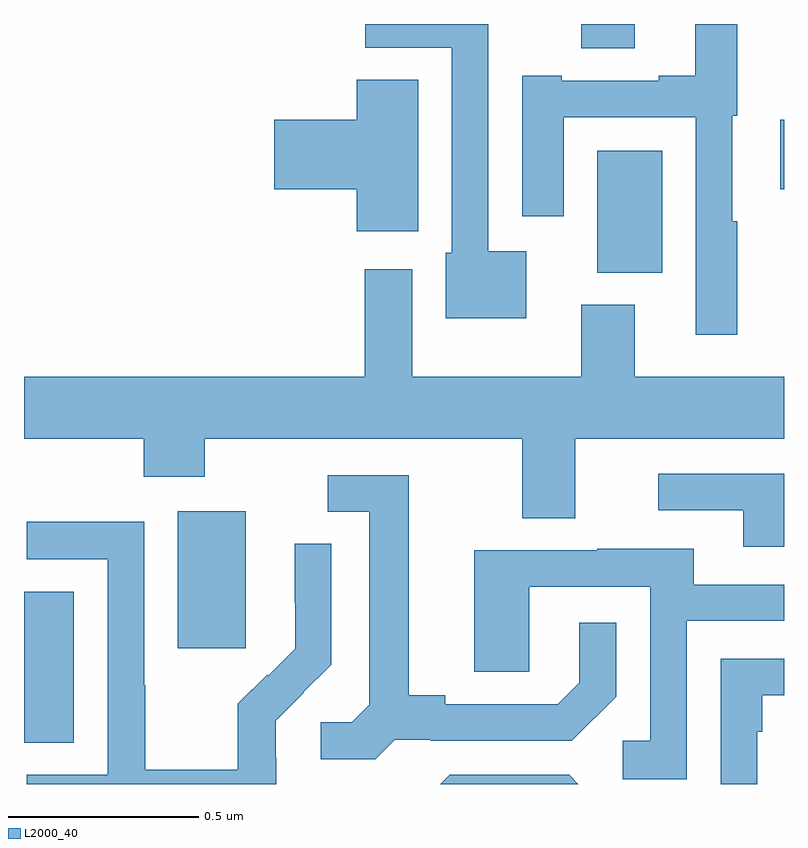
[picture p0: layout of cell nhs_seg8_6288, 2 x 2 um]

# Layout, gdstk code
import gdstk
lib = gdstk.Library(unit=1e-6, precision=1e-09)
def R(c, l, rs):  # rectangles x0, y0, x1, y1
    for r in rs: c.add(gdstk.rectangle(r[:2], r[2:], *l))
def P(c, l, *ps):  # polygons
    for p in ps: c.add(gdstk.Polygon(p, *l))
L2000_40 = (2000, 40)

nhs_seg8_6288 = lib.new_cell('nhs_seg8_6288')
R(nhs_seg8_6288, L2000_40, [(194,1141.009,194.131,1141.406), (194.405,1141.257,194.584,1141.618), (195.509,1142.246,195.679,1142.566), (195.99,1142.465,196,1142.648), (195.467,1142.836,195.607,1142.9)])
P(nhs_seg8_6288, L2000_40, [(195.322,1142.302),(195.222,1142.302),(195.222,1142.9),(194.898,1142.9),(194.898,1142.838),(195.126,1142.838),(195.126,1142.298),(195.11,1142.298),(195.11,1142.126),(195.322,1142.126)],
  [(195.877,1142.381),(195.864,1142.381),(195.864,1142.658),(195.877,1142.658),(195.877,1142.899),(195.767,1142.899),(195.767,1142.764),(195.671,1142.764),(195.671,1142.751),(195.415,1142.751),(195.415,1142.764),(195.311,1142.764),(195.311,1142.394),(195.421,1142.394),(195.421,1142.655),(195.768,1142.655),(195.768,1142.082),(195.877,1142.082)],
  [(195.037,1142.753),(194.876,1142.753),(194.876,1142.648),(194.658,1142.648),(194.658,1142.465),(194.876,1142.465),(194.876,1142.355),(195.037,1142.355)],
  [(195.451,1141.808),(196,1141.808),(196,1141.972),(195.607,1141.972),(195.607,1142.161),(195.467,1142.161),(195.467,1141.972),(195.022,1141.972),(195.022,1142.254),(194.897,1142.254),(194.897,1141.972),(194,1141.972),(194,1141.808),(194.315,1141.808),(194.315,1141.709),(194.475,1141.709),(194.475,1141.808),(195.311,1141.808),(195.311,1141.6),(195.451,1141.6)],
  [(196,1141.716),(195.669,1141.716),(195.669,1141.62),(195.893,1141.62),(195.893,1141.524),(196,1141.524)],
  [(194.976,1141.017),(195.07,1141.017),(195.07,1141.014),(195.442,1141.014),(195.558,1141.13),(195.558,1141.324),(195.461,1141.324),(195.461,1141.167),(195.404,1141.11),(195.109,1141.11),(195.109,1141.133),(195.013,1141.133),(195.013,1141.713),(194.799,1141.713),(194.799,1141.617),(194.909,1141.617),(194.909,1141.109),(194.862,1141.062),(194.781,1141.062),(194.781,1140.965),(194.924,1140.965)],
  [(194.664,1140.969),(194.662,1140.969),(194.662,1141.066),(194.736,1141.14),(194.735,1141.141),(194.808,1141.214),(194.808,1141.532),(194.712,1141.532),(194.712,1141.378),(194.714,1141.378),(194.714,1141.256),(194.643,1141.185),(194.64,1141.188),(194.563,1141.111),(194.563,1140.937),(194.319,1140.937),(194.319,1141.16),(194.316,1141.16),(194.316,1141.59),(194.007,1141.59),(194.007,1141.491),(194.22,1141.491),(194.22,1140.924),(194.007,1140.924),(194.007,1140.9),(194.664,1140.9)],
  [(195.744,1141.329),(196,1141.329),(196,1141.425),(195.763,1141.425),(195.763,1141.519),(195.509,1141.519),(195.509,1141.515),(195.185,1141.515),(195.185,1141.195),(195.33,1141.195),(195.33,1141.419),(195.648,1141.419),(195.648,1141.014),(195.576,1141.014),(195.576,1140.913),(195.744,1140.913)],
  [(195.93,1141.037),(195.943,1141.037),(195.943,1141.134),(196,1141.134),(196,1141.23),(195.834,1141.23),(195.834,1140.9),(195.93,1140.9)],
  [(195.435,1140.924),(195.12,1140.924),(195.096,1140.9),(195.459,1140.9)])

lib.write_gds('nhs_seg8_6288.gds')
